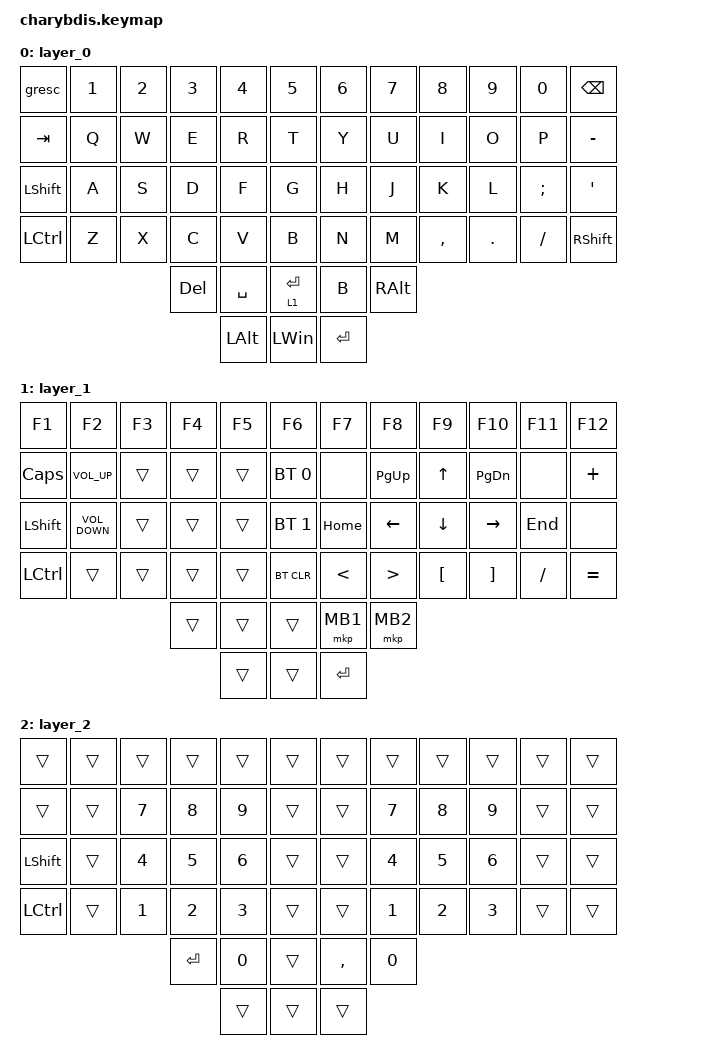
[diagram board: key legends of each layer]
#include <dt-bindings/zmk/mouse.h>
#include <behaviors.dtsi>
#include <dt-bindings/zmk/bt.h>
#include <dt-bindings/zmk/keys.h>
#include <dt-bindings/zmk/pointing.h>

#define MOVE_X 0
#define MOVE_Y 1

&lt {
    tapping-term-ms = <200>;
    flavor = "balanced";
    quick-tap-ms = <150>;
};

/ {
    combos {
        compatible = "zmk,combos";

        number {
            bindings = <&tog 2>;
            key-positions = <47 35>;
        };
    };

    keymap {
        compatible = "zmk,keymap";

        layer_0 {
            bindings = <
&gresc          &kp N1  &kp N2  &kp N3   &kp N4        &kp N5          &kp N6     &kp N7    &kp N8     &kp N9   &kp N0     &kp BACKSPACE
&kp TAB         &kp Q   &kp W   &kp E    &kp R         &kp T           &kp Y      &kp U     &kp I      &kp O    &kp P      &kp MINUS
&kp LEFT_SHIFT  &kp A   &kp S   &kp D    &kp F         &kp G           &kp H      &kp J     &kp K      &kp L    &kp SEMI   &kp SQT
&kp LCTRL       &kp Z   &kp X   &kp C    &kp V         &kp B           &kp N      &kp M     &kp COMMA  &kp DOT  &kp SLASH  &kp RSHIFT
                                &kp DEL  &kp SPACE     &lt 1 ENTER     &kp B      &kp RALT
                                         &kp LEFT_ALT  &kp LEFT_WIN    &kp ENTER
            >;

            trackball-bindings = <&tmv_coarse>;
        };

        layer_1 {
            bindings = <
&kp F1          &kp F2             &kp F3  &kp F4  &kp F5  &kp F6          &kp F7     &kp F8       &kp F9            &kp F10            &kp F11    &kp F12
&kp CAPS        &kp C_VOLUME_UP    &trans  &trans  &trans  &bt BT_SEL 0    &none      &kp PAGE_UP  &kp UP            &kp PAGE_DOWN      &none      &kp PLUS
&kp LEFT_SHIFT  &kp C_VOLUME_DOWN  &trans  &trans  &trans  &bt BT_SEL 1    &kp HOME   &kp LEFT     &kp DOWN          &kp RIGHT          &kp END    &none
&kp LCTRL       &trans             &trans  &trans  &trans  &bt BT_CLR      &kp LT     &kp GT       &kp LEFT_BRACKET  &kp RIGHT_BRACKET  &kp SLASH  &kp EQUAL
                                           &trans  &trans  &trans          &mkp MB1   &mkp MB2
                                                   &trans  &trans          &kp ENTER
            >;

            trackball-bindings = <&tsl>;
        };

        layer_2 {
            bindings = <
&trans          &trans  &trans  &trans     &trans  &trans    &trans     &trans  &trans  &trans  &trans  &trans
&trans          &trans  &kp N7  &kp N8     &kp N9  &trans    &trans     &kp N7  &kp N8  &kp N9  &trans  &trans
&kp LEFT_SHIFT  &trans  &kp N4  &kp N5     &kp N6  &trans    &trans     &kp N4  &kp N5  &kp N6  &trans  &trans
&kp LCTRL       &trans  &kp N1  &kp N2     &kp N3  &trans    &trans     &kp N1  &kp N2  &kp N3  &trans  &trans
                                &kp ENTER  &kp N0  &trans    &kp COMMA  &kp N0
                                           &trans  &trans    &trans
            >;
        };

        /* layer_2 {
            bindings = <
&none  &none   &none    &none   &none         &none         &kp N1         &none         &none     &none  &none   &to 0
&none  &none   &none    &none   &none         &none         &none         &none          &rgb_ug RGB_BRD &rgb_ug RGB_BRI  &rgb_ug RGB_EFF   &rgb_ug RGB_TOG
&none  &none   &none    &none   &none         &none         &none         &mkp LCLK     &mkp RCLK  &none  &none   &none
&none  &none   &none    &none   &bt BT_NXT  &bt BT_CLR    &none         &none         &none     &none  &none   &none
                                   &none         &none         &none         &none         &none
                                                 &none         &none         &none
            >;
          trackball-bindings = <&tsl>;
            
        };

       Mouse {
            bindings = <
&none        &none         &none         &none         &none      &none         &none       &none      &none         &none         &none         &none
&none        &bt BT_SEL 0  &bt BT_SEL 1  &bt BT_SEL 3  &none      &bt BT_CLR    &bt BT_CLR  &none      &bt BT_SEL 2  &bt BT_SEL 1  &bt BT_SEL 0  &none
&none        &trans        &trans        &mkp MCLK     &trans     &none         &none       &trans     &mkp MCLK     &trans        &trans        &none
&bootloader  &trans        &mkp RCLK     &mo 4         &mkp LCLK  &mo 5         &mo 5       &mkp LCLK  &mo 4         &mkp RCLK     &trans        &bootloader
                                         &mo 5         &mkp LCLK  &mkp RCLK     &mkp RCLK   &mkp LCLK
                                                       &none      &trans        &trans
            >;

            
        };

        layer_4 {
            bindings = <
&trans  &trans  &trans     &trans     &trans     &trans       &trans     &trans     &trans     &trans     &trans  &trans
&trans  &trans  &trans     &trans     &trans     &trans       &trans     &trans     &trans     &trans     &trans  &trans
&trans  &trans  &trans     &mkp MCLK  &trans     &trans       &trans     &trans     &mkp MCLK  &trans     &trans  &trans
&trans  &trans  &mkp RCLK  &trans     &mkp LCLK  &trans       &trans     &mkp LCLK  &trans     &mkp RCLK  &trans  &trans
                           &trans     &mkp LCLK  &mkp RCLK    &mkp RCLK  &mkp LCLK
                                      &trans     &trans       &trans
            >;
                
                
                trackball-bindings = <&tsl>;
        };

        layer_5 {
            bindings = <
&trans  &trans  &trans     &trans     &trans     &trans       &trans     &trans     &trans     &trans     &trans  &trans
&trans  &trans  &trans     &trans     &trans     &trans       &trans     &trans     &trans     &trans     &trans  &trans
&trans  &trans  &trans     &mkp MCLK  &trans     &trans       &trans     &trans     &mkp MCLK  &trans     &trans  &trans
&trans  &trans  &mkp RCLK  &trans     &mkp LCLK  &trans       &trans     &mkp LCLK  &trans     &mkp RCLK  &trans  &trans
                           &trans     &mkp LCLK  &mkp RCLK    &mkp RCLK  &mkp LCLK
                                      &trans     &trans       &trans
            >;
                trackball-bindings = <&tmv_fine>;
                
        };*/
    };
};
